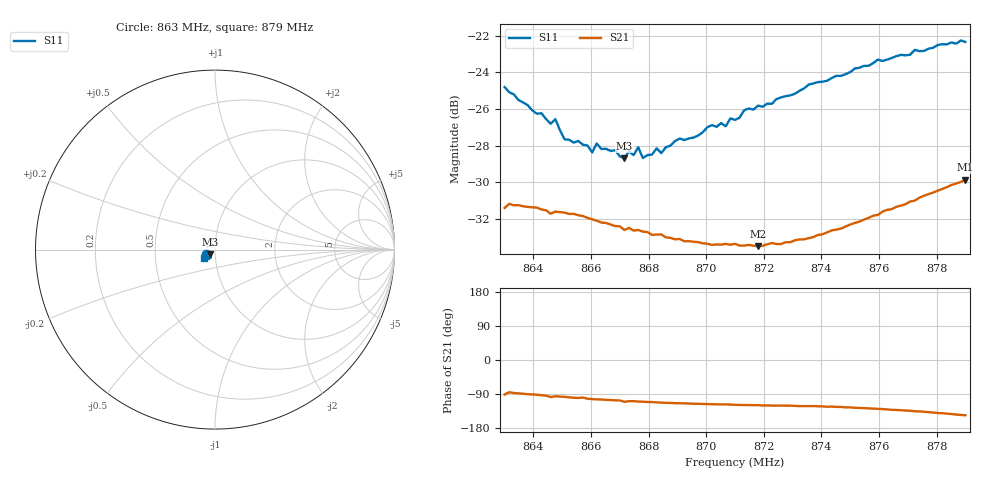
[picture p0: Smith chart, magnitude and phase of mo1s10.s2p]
# HZ S RI R 50
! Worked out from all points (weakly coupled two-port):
!   101 points, 863 MHz to 879 MHz, reference 50 ohm
!   highest |S21| = -29.87 dB at 879 MHz (marker M1); lowest = -33.5 dB at 871.8 MHz (marker M2)
!   lowest |S11| = -28.7 dB at 867.16 MHz (marker M3), VSWR 1.08, Z = 47.4 - j2.46 ohm
!   |S11| at or under -10 dB: start of sweep to end of sweep
!   S12 and S22 are empty: the file has one direction only
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8.63e8  -0.0522 -0.0241  -0.00053 -0.0269  0 0  0 0
8.6316e8  -0.0502 -0.024  0.0024 -0.0275  0 0  0 0
8.646e8  -0.0406 -0.0208  -0.00353 -0.0257  0 0  0 0
8.6476e8  -0.0417 -0.0218  -0.00261 -0.0262  0 0  0 0
8.6508e8  -0.0358 -0.0208  -0.00328 -0.0259  0 0  0 0
8.6572e8  -0.0334 -0.022  -0.00401 -0.0252  0 0  0 0
8.6604e8  -0.0307 -0.0227  -0.00574 -0.0244  0 0  0 0
8.662e8  -0.0327 -0.0236  -0.00598 -0.0241  0 0  0 0
8.6716e8  -0.0261 -0.0259  -0.00818 -0.0219  0 0  0 0
8.6732e8  -0.0271 -0.0272  -0.00754 -0.0225  0 0  0 0
8.6748e8  -0.0255 -0.0275  -0.00748 -0.0221  0 0  0 0
8.6764e8  -0.0268 -0.0288  -0.00789 -0.022  0 0  0 0
8.678e8  -0.0246 -0.0273  -0.00795 -0.0218  0 0  0 0
8.6828e8  -0.0235 -0.0313  -0.0085 -0.0211  0 0  0 0
8.6844e8  -0.0237 -0.0296  -0.00867 -0.0211  0 0  0 0
8.6908e8  -0.0238 -0.0341  -0.00906 -0.0202  0 0  0 0
8.71e8  -0.0232 -0.0406  -0.0102 -0.0189  0 0  0 0
8.7132e8  -0.0245 -0.0433  -0.0102 -0.0186  0 0  0 0
8.718e8  -0.026 -0.044  -0.0103 -0.0185  0 0  0 0
8.7372e8  -0.0316 -0.0496  -0.0117 -0.0191  0 0  0 0
8.7644e8  -0.0463 -0.0511  -0.0177 -0.02  0 0  0 0
8.79e8  -0.0616 -0.0451  -0.0265 -0.0181  0 0  0 0
